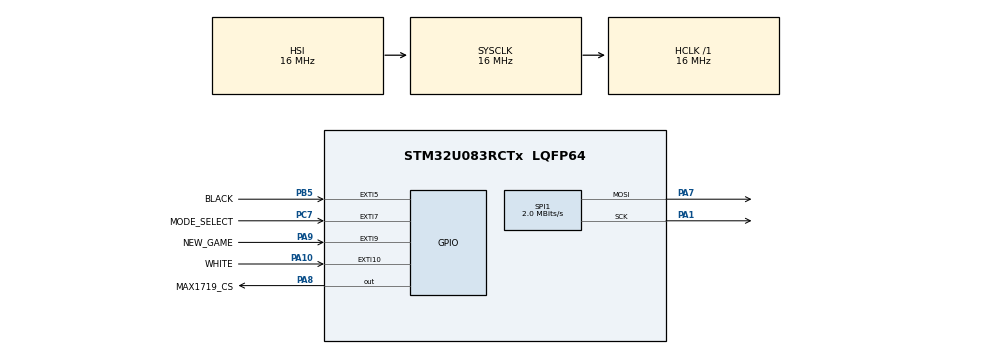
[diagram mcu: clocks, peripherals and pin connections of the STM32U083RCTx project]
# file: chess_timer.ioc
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Mcu.Family=STM32U0
Mcu.Name=STM32U083RCTx
Mcu.Package=LQFP64
NUCLEO-U083RC.BUTTON=0
NUCLEO-U083RC.LD4=true
NVIC.EXTI4_15_IRQn=true\:1\:0\:true\:false\:true\:true\:true\:true
NVIC.PriorityGroup=NVIC_PRIORITYGROUP_2
NVIC.SPI1_IRQn=true\:0\:0\:false\:false\:true\:true\:true\:true
NVIC.TIM6_DAC_LPTIM1_IRQn=true\:0\:0\:true\:false\:true\:true\:true\:true
NVIC.TIM7_LPTIM2_IRQn=true\:0\:0\:true\:false\:true\:true\:true\:true
PA1.Mode=TX_Only_Simplex_Unidirect_Master
PA1.Signal=SPI1_SCK
PA10.GPIO_Label=WHITE
PA10.GPIO_PuPd=GPIO_PULLDOWN
PA10.Signal=GPXTI10
PA13\ (SWDIO).GPIO_Label=SWDIO
PA13\ (SWDIO).Signal=DEBUG_JTMS-SWDIO
PA14\ (SWCLK).GPIO_Label=SWCLK
PA14\ (SWCLK).Signal=DEBUG_JTCK-SWCLK
PA7.Mode=TX_Only_Simplex_Unidirect_Master
PA7.Signal=SPI1_MOSI
PA8.GPIO_Label=MAX1719_CS
PA8.GPIO_PuPd=GPIO_NOPULL
PA8.GPIO_Speed=GPIO_SPEED_FREQ_VERY_HIGH
PA8.PinState=GPIO_PIN_RESET
PA8.Signal=GPIO_Output
PA9.GPIO_Label=NEW_GAME
PA9.GPIO_PuPd=GPIO_PULLDOWN
PA9.Signal=GPXTI9
PB5.GPIO_Label=BLACK
PB5.GPIO_PuPd=GPIO_PULLDOWN
PB5.Signal=GPXTI5
PB8.GPIO_Label=I2C1_SCL
PB8.Signal=I2C1_SCL
PB9.GPIO_Label=I2C1_SDA
PB9.Signal=I2C1_SDA
PC14-OSC32_IN.GPIO_Label=OSC32_IN
PC14-OSC32_IN.Signal=RCC_OSC32_IN
PC15-OSC32_OUT.GPIO_Label=OSC32_OUT
PC15-OSC32_OUT.Signal=RCC_OSC32_OUT
PC7.GPIO_Label=MODE_SELECT
PC7.GPIO_PuPd=GPIO_PULLDOWN
PC7.Signal=GPXTI7
PF0-OSC_IN.GPIO_Label=OSC_IN
PF0-OSC_IN.Signal=RCC_OSC_IN
PF1-OSC_OUT.GPIO_Label=OSC_OUT
PF1-OSC_OUT.Signal=RCC_OSC_OUT
ProjectManager.HeapSize=0x200
ProjectManager.StackSize=0x400
ProjectManager.TargetToolchain=Makefile
RCC.AHBFreq_Value=16000000
RCC.CortexFreq_Value=16000000
RCC.HCLKFreq_Value=16000000
RCC.HSE_VALUE=4000000
RCC.HSI48_VALUE=48000000
RCC.HSI_VALUE=16000000
RCC.LSE_VALUE=32768
RCC.MSI_VALUE=4000000
RCC.SYSCLKFreq_VALUE=16000000
RCC.VCOOutputFreq_Value=64000000
SPI1.BaudRatePrescaler=SPI_BAUDRATEPRESCALER_8
SPI1.CalculateBaudRate=2.0 MBits/s
SPI1.DataSize=SPI_DATASIZE_8BIT
SPI1.Direction=SPI_DIRECTION_2LINES
SPI1.Mode=SPI_MODE_MASTER
SPI1.NSSPMode=SPI_NSS_PULSE_DISABLE
SPI1.VirtualType=VM_MASTER
TIM6.AutoReloadPreload=TIM_AUTORELOAD_PRELOAD_ENABLE
TIM6.Period=9
TIM6.Prescaler=16000
TIM6.TIM_MasterOutputTrigger=TIM_TRGO_RESET
TIM7.AutoReloadPreload=TIM_AUTORELOAD_PRELOAD_ENABLE
TIM7.Period=10
TIM7.Prescaler=16000
TIM7.TIM_MasterOutputTrigger=TIM_TRGO_RESET
VP_NUCLEO-U083RC_VS_BSP_COMMON.Mode=COMMON
VP_PWR_VS_SECSignals.Mode=Security/Privilege
VP_TIM6_VS_ClockSourceINT.Mode=Enable_Timer
VP_TIM7_VS_ClockSourceINT.Mode=Enable_Timer
board=NUCLEO-U083RC

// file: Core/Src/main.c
/* USER CODE BEGIN Header */
/**
 ******************************************************************************
 * @file           : main.c
 * @brief          : Main program body
 ******************************************************************************
 * @attention
 *
 * Copyright (c) 2024 STMicroelectronics.
 * All rights reserved.
 *
 * This software is licensed under terms that can be found in the LICENSE file
 * in the root directory of this software component.
 * If no LICENSE file comes with this software, it is provided AS-IS.
 *
 ******************************************************************************
 */
/* USER CODE END Header */
#include "main.h"
#include "spi.h"
#include "tim.h"
#include "gpio.h"

/* USER CODE BEGIN Includes */
#include "hal_max7219.h"
#include "hal_ls027b7.h"
#include "chess.h"
/* USER CODE END Includes */

/* USER CODE BEGIN PV */
ChessGame Game;
/* USER CODE END PV */

void SystemClock_Config(void);

int main(void)
{

  /* MCU Configuration--------------------------------------------------------*/

  /* Reset of all peripherals, Initializes the Flash interface and the Systick. */
  HAL_Init();

  /* Configure the system clock */
  SystemClock_Config();

  /* Initialize all configured peripherals */
  MX_GPIO_Init();
  MX_SPI1_Init();
  MX_TIM6_Init();
  MX_TIM7_Init();
  /* USER CODE BEGIN 2 */
  // MAX7219_HandleTypeDef hmax7219;
  // hmax7219.hspi = &hspi1;
  // hmax7219.CSPort = MAX1719_CS_GPIO_Port;
  // hmax7219.CSPin = MAX1719_CS_Pin;
  // HAL_MAX7219_Init(&hmax7219);

  // HAL_TIM_Base_Start_IT(&htim6);

  // Game.GameState = NEW_GAME;
  // Game.MatchLength = LEN_10SEC;
  LS027B7_HandleTypeDef hls027b7;
  hls027b7.hspi = &hspi1;
  hls027b7.CSPort = MAX1719_CS_GPIO_Port;
  hls027b7.CSPin = MAX1719_CS_Pin;
  HAL_LS027B7_Init(&hls027b7);

  HAL_LS027B7_ClearDisplay(&hls027b7);
  HAL_LS027B7_DrawLine(&hls027b7, (uint8_t)120);
  HAL_LS027B7_DrawPixel(&hls027b7, (uint8_t)10, (uint8_t)10);
  HAL_LS027B7_DrawChar(&hls027b7, 24, 24, 'B');
  HAL_LS027B7_DrawString(&hls027b7, 50, 100, "test", 4);
  /* USER CODE END 2 */

  /* Initialize leds */
  BSP_LED_Init(LED_GREEN);

  /* Infinite loop */
  /* USER CODE BEGIN WHILE */
  while (1)
  {
    // GameLoop(&hmax7219, &Game);
    // HAL_LS027B7_DrawLine(&hls027b7, (uint8_t)69);
    /* USER CODE END WHILE */

  }
}

void SystemClock_Config(void)
{
  RCC_OscInitTypeDef RCC_OscInitStruct = {0};
  RCC_ClkInitTypeDef RCC_ClkInitStruct = {0};

  /** Configure the main internal regulator output voltage
  */
  HAL_PWREx_ControlVoltageScaling(PWR_REGULATOR_VOLTAGE_SCALE2);

  /** Initializes the RCC Oscillators according to the specified parameters
  * in the RCC_OscInitTypeDef structure.
  */
  RCC_OscInitStruct.OscillatorType = RCC_OSCILLATORTYPE_HSI;
  RCC_OscInitStruct.HSIState = RCC_HSI_ON;
  RCC_OscInitStruct.HSICalibrationValue = RCC_HSICALIBRATION_DEFAULT;
  RCC_OscInitStruct.PLL.PLLState = RCC_PLL_NONE;
  if (HAL_RCC_OscConfig(&RCC_OscInitStruct) != HAL_OK)
  {
    Error_Handler();
  }

  /** Initializes the CPU, AHB and APB buses clocks
  */
  RCC_ClkInitStruct.ClockType = RCC_CLOCKTYPE_HCLK|RCC_CLOCKTYPE_SYSCLK
                              |RCC_CLOCKTYPE_PCLK1;
  RCC_ClkInitStruct.SYSCLKSource = RCC_SYSCLKSOURCE_HSI;
  RCC_ClkInitStruct.AHBCLKDivider = RCC_SYSCLK_DIV1;
  RCC_ClkInitStruct.APB1CLKDivider = RCC_HCLK_DIV1;

  if (HAL_RCC_ClockConfig(&RCC_ClkInitStruct, FLASH_LATENCY_1) != HAL_OK)
  {
    Error_Handler();
  }
}

/* USER CODE BEGIN 4 */
void HAL_GPIO_EXTI_Rising_Callback(uint16_t GPIO_Pin)
{
  if (GPIO_Pin == WHITE_Pin && Game.GameState == WHITE_TURN)
  {
    Game.GameState = BLACK_TURN;
  }
  else if (GPIO_Pin == BLACK_Pin && Game.GameState == BLACK_TURN)
  {
    Game.GameState = WHITE_TURN;
  }
  else if (GPIO_Pin == NEW_GAME_Pin)
  {
    switch (Game.GameState)
    {
    case NEW_GAME:
      Game.GameState = WHITE_TURN;
      break;
    default:
      Game.GameState = NEW_GAME;
      break;
    }
  }
  else if (GPIO_Pin == MODE_SELECT_Pin)
  {
    if(Game.MatchLength == LEN_30MIN)
    {
      Game.MatchLength = LEN_10SEC;
    }
    else
    {
      Game.MatchLength++;
    }
  }
}

void HAL_TIM_PeriodElapsedCallback(TIM_HandleTypeDef *htim)
{
  if (htim->Instance == TIM6)
  {
    if (Game.GameState == WHITE_TURN)
    {
      if (Game.WhiteTick10ms % 10000 == 0)
      {
        Game.WhiteTick10ms -= 4000;
      }
      else
      {
        Game.WhiteTick10ms--;
      }
    }
    else if (Game.GameState == BLACK_TURN)
    {
      if (Game.BlackTick10ms % 10000 == 0)
      {
        Game.BlackTick10ms -= 4000;
      }
      else
      {
        Game.BlackTick10ms--;
      }
    }
    else if (Game.GameState == GAME_OVER)
    {
      Game.WinnerTick10ms++;
      if (Game.WinnerTick10ms > 99)
      {
        Game.WinnerTick10ms = 0;
        Game.GameOverBlink = !Game.GameOverBlink;
      }
    }
  }
}
/* USER CODE END 4 */

void Error_Handler(void)
{
  __disable_irq();
  while (1)
  {
  }
}
